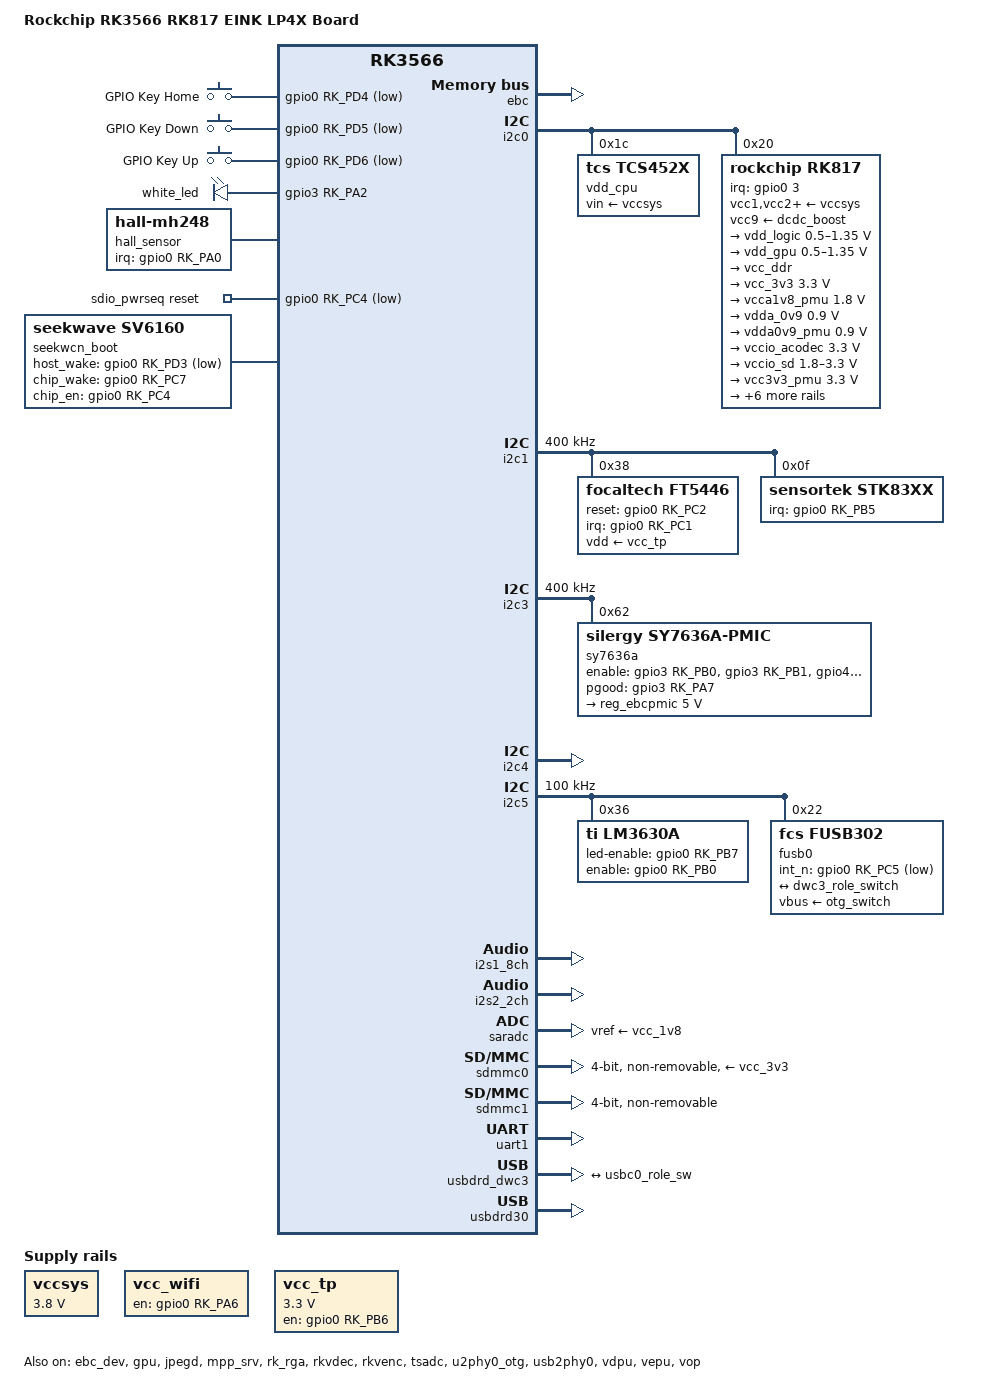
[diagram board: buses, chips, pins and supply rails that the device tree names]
// SPDX-License-Identifier: (GPL-2.0+ OR MIT)
/*
 * Copyright (c) 2020 Rockchip Electronics Co., Ltd.
 *
 * PocketBook 635 (RK3566), boots from SD.
 */

/dts-v1/;

#include <dt-bindings/gpio/gpio.h>
#include <dt-bindings/pinctrl/rockchip.h>
#include <dt-bindings/input/rk-input.h>
#include <dt-bindings/sensor-dev.h>
#include <dt-bindings/display/drm_mipi_dsi.h>
#include "rk3566.dtsi"
#include "rk3568-linux.dtsi"
#include "rk3566-eink.dtsi"

/ {
	model = "Rockchip RK3566 RK817 EINK LP4X Board";
	compatible = "rockchip,rk3566-rk817-eink", "rockchip,rk3566";

	aliases {
		mmc0 = &sdmmc0;
		mmc1 = &sdmmc1;
		mmc2 = &sdhci;
	};

	charge-animation {
		compatible = "rockchip,uboot-charge";
		rockchip,uboot-charge-on = <1>;
		rockchip,android-charge-on = <0>;
		rockchip,uboot-low-power-voltage = <3350>;
		rockchip,screen-on-voltage = <3400>;
		rockchip,auto-wakeup-interval = <60>;
		status = "okay";
	};

	// adc_keys: adc-keys {
	// 	status = "disabled";
	// 	compatible = "adc-keys";
	// 	io-channels = <&saradc 0>;
	// 	io-channel-names = "buttons";
	// 	keyup-threshold-microvolt = <1800000>;
	// 	poll-interval = <100>;

	// 	vol-up-key {
	// 		label = "volume up";
	// 		linux,code = <KEY_VOLUMEUP>;
	// 		press-threshold-microvolt = <9000>;
	// 	};

	// 	vol-down-key {
	// 		label = "volume down";
	// 		linux,code = <KEY_VOLUMEDOWN>;
	// 		press-threshold-microvolt = <235000>;
	// 	};
	// };

	// backlight: backlight {
	// 	status = "disabled";
	// 	compatible = "pwm-backlight";
	// 	pwms = <&pwm0 0 25000 0>;
	// 	brightness-levels = <
	// 		  0  20  20  21  21  22  22  23
	// 		 23  24  24  25  25  26  26  27
	// 		 27  28  28  29  29  30  30  31
	// 		 31  32  32  33  33  34  34  35
	// 		 35  36  36  37  37  38  38  39
	// 		 40  41  42  43  44  45  46  47
	// 		 48  49  50  51  52  53  54  55
	// 		 56  57  58  59  60  61  62  63
	// 		 64  65  66  67  68  69  70  71
	// 		 72  73  74  75  76  77  78  79
	// 		 80  81  82  83  84  85  86  87
	// 		 88  89  90  91  92  93  94  95
	// 		 96  97  98  99 100 101 102 103
	// 		104 105 106 107 108 109 110 111
	// 		112 113 114 115 116 117 118 119
	// 		120 121 122 123 124 125 126 127
	// 		128 129 130 131 132 133 134 135
	// 		136 137 138 139 140 141 142 143
	// 		144 145 146 147 148 149 150 151
	// 		152 153 154 155 156 157 158 159
	// 		160 161 162 163 164 165 166 167
	// 		168 169 170 171 172 173 174 175
	// 		176 177 178 179 180 181 182 183
	// 		184 185 186 187 188 189 190 191
	// 		192 193 194 195 196 197 198 199
	// 		200 201 202 203 204 205 206 207
	// 		208 209 210 211 212 213 214 215
	// 		216 217 218 219 220 221 222 223
	// 		224 225 226 227 228 229 230 231
	// 		232 233 234 235 236 237 238 239
	// 		240 241 242 243 244 245 246 247
	// 		248 249 250 251 252 253 254 255
	// 	>;
	// 	default-brightness-level = <200>;
	// };


    // backlight_warm: backlight-warm {
    //     status = "disabled";
    //     compatible = "pwm-backlight";
    //     pwms = <&pwm0 0 25000 0>;
    //     brightness-levels = <
    //     /*0  */  0     200  400  600  800
    //     /*5  */  1000 1200 1400 1600 1800
    //     /*10 */  2000 2200 2400 2600 2800
    //     /*15 */  3000 3200 3400 3600 3800
    //     /*20 */  4000 4200 4400 4600 4800
    //     /*25 */  5000 5200 5400 5600 5800
    //     /*30 */  6000 6200 6400 6600 6800 6900
    //     /*36 */  7000 7200 7400 7700
    //     /*40 */  8000 8200 8400 8600 8800
    //     /*45 */  9000 9200 9400 9600 9800
    //     /*50 */  10000 10200 10400 10600 10800
    //     /*55 */  11000 11200 11400 11600 11800
    //     /*60 */  12000 12200 12400 12600 12800
    //     /*65 */  13000 13200 13400 13500 13600 13700 13800
    //     /*72 */  14000 14100 14200 14300 14400 14500 14600 14700 14800 14900
    //     /*82 */  15000 15100 15200 15300 15400 15500 15600 15650 15700 15750 15800 15900 15950
    //     /*95 */  16000 16100 16200 16300 16400 16500 16600 16650 16700 16750 16800 16900 16950
    //     /*108*/  17000 17100 17150 17200 17250 17300 17350 17400 17450 17500 17550 17600 17650 17750 17800 17850 17900 17950
    //     /*126*/  18000 18100 18150 18200 18250 18300 18350 18400 18450 18500 18550 18600 18650 18750 18800 18850 18900 18950
    //     /*144*/  19000 19100 19150 19200 19250 19300 19350 19400 19450 19500 19550 19600 19650 19750 19800 19850 19900 19950
    //     /*162*/  20000 20100 20150 20200 20250 20300 20350 20400 20450 20500 20550 20600 20650 20750 20800 20850 20900 20950
    //     /*180*/  21000 21100 21150 21200 21250 21300 21350 21400 21450 21500 21550 21600 21650 21750 21800 21850 21900 21950
    //     /*198*/  22000 22100 22150 22200 22250 22300 22350 22400 22450 22500 22550 22600 22650 22750 22800 22850 22900 22950
    //     /*216*/  23000 23100 23150 23230 23250 23300 23350 23400 23450 23500 23550 23600 23650 23750 23800 23850 23900 23950
    //              24000 24100 24150 24200 24250 24300 24350 24400 24450 24500 24550 24600 24650 24750 24800 24850 24900 24950 24950 24950 24950
    //     /*255*/  25000>;
    //     default-brightness-level = <0>;
    // };

    // backlight_cold: backlight-cold {
    //     status = "disabled";
    //     compatible = "pwm-backlight";
    //     pwms = <&pwm12 0 25000 0>;
    //     brightness-levels = <
    //     /*0  */  0     200  400  600  800
    //     /*5  */  1000 1200 1400 1600 1800
    //     /*10 */  2000 2200 2400 2600 2800
    //     /*15 */  3000 3200 3400 3600 3800
    //     /*20 */  4000 4200 4400 4600 4800
    //     /*25 */  5000 5200 5400 5600 5800
    //     /*30 */  6000 6200 6400 6600 6800 6900
    //     /*36 */  7000 7200 7400 7700
    //     /*40 */  8000 8200 8400 8600 8800
    //     /*45 */  9000 9200 9400 9600 9800
    //     /*50 */  10000 10200 10400 10600 10800
    //     /*55 */  11000 11200 11400 11600 11800
    //     /*60 */  12000 12200 12400 12600 12800
    //     /*65 */  13000 13200 13400 13500 13600 13700 13800
    //     /*72 */  14000 14100 14200 14300 14400 14500 14600 14700 14800 14900
    //     /*82 */  15000 15100 15200 15300 15400 15500 15600 15650 15700 15750 15800 15900 15950
    //     /*95 */  16000 16100 16200 16300 16400 16500 16600 16650 16700 16750 16800 16900 16950
    //     /*108*/  17000 17100 17150 17200 17250 17300 17350 17400 17450 17500 17550 17600 17650 17750 17800 17850 17900 17950
    //     /*126*/  18000 18100 18150 18200 18250 18300 18350 18400 18450 18500 18550 18600 18650 18750 18800 18850 18900 18950
    //     /*144*/  19000 19100 19150 19200 19250 19300 19350 19400 19450 19500 19550 19600 19650 19750 19800 19850 19900 19950
    //     /*162*/  20000 20100 20150 20200 20250 20300 20350 20400 20450 20500 20550 20600 20650 20750 20800 20850 20900 20950
    //     /*180*/  21000 21100 21150 21200 21250 21300 21350 21400 21450 21500 21550 21600 21650 21750 21800 21850 21900 21950
    //     /*198*/  22000 22100 22150 22200 22250 22300 22350 22400 22450 22500 22550 22600 22650 22750 22800 22850 22900 22950
    //     /*216*/  23000 23100 23150 23230 23250 23300 23350 23400 23450 23500 23550 23600 23650 23750 23800 23850 23900 23950
    //              24000 24100 24150 24200 24250 24300 24350 24400 24450 24500 24550 24600 24650 24750 24800 24850 24900 24950 24950 24950 24950
    //     /*255*/  25000>;
    //     default-brightness-level = <0>;
    // };

	gpio_keys: gpio-keys {
		status = "okay";
		compatible = "gpio-keys";
		pinctrl-names = "default";
		pinctrl-0 = <&gpio_keys_gpio>;
		//autorepeat;

		HOME {
			label = "GPIO Key Home";
			debounce-interval = <10>;
			interrupt-parent = <&gpio0>;
			interrupts = <RK_PD4 IRQ_TYPE_LEVEL_LOW>;
			linux,input-type = <EV_KEY>;
			linux,code = <KEY_HOME>;
			gpios=<&gpio0 RK_PD4 GPIO_ACTIVE_LOW>;
			wakeup-source;
		};

		DOWN {
			label = "GPIO Key Down";
			debounce-interval = <10>;
			interrupt-parent = <&gpio0>;
			interrupts = <RK_PD5 IRQ_TYPE_LEVEL_LOW>;
			linux,input-type = <EV_KEY>;
			linux,code = <KEY_DOWN>;
			gpios=<&gpio0 RK_PD5 GPIO_ACTIVE_LOW>;
			wakeup-source;
		};

		UP {
			label = "GPIO Key Up";
			debounce-interval = <10>;
			interrupt-parent = <&gpio0>;
			interrupts = <RK_PD6 IRQ_TYPE_LEVEL_LOW>;
			linux,input-type = <EV_KEY>;
			linux,code = <KEY_UP>;
			gpios=<&gpio0 RK_PD6 GPIO_ACTIVE_LOW>;
			wakeup-source;
		};

	};

	hdmi_sound: hdmi-sound {
		compatible = "simple-audio-card";
		simple-audio-card,format = "i2s";
		simple-audio-card,mclk-fs = <128>;
		simple-audio-card,name = "rockchip,hdmi";
		status = "disabled";

		simple-audio-card,cpu {
				sound-dai = <&i2s0_8ch>;
		};
		simple-audio-card,codec {
				sound-dai = <&hdmi>;
		};
	};

	leds: gpio-leds {
		status = "okay";
		compatible = "gpio-leds";
		pinctrl-names = "default";
		pinctrl-0 =<&leds_gpio>;

		led@1 {
			gpios = <&gpio3 RK_PA2 GPIO_ACTIVE_HIGH>;
			label = "white_led";
			default-state = "on";
			retain-state-suspended;
		};
	};

	hall_sensor: hall-mh248 {
		compatible = "hall-mh248";
		pinctrl-names = "default";
		pinctrl-0 = <&mh248_irq_gpio>;
		irq-gpio = <&gpio0 RK_PA0 IRQ_TYPE_EDGE_BOTH>;
		hall-active = <1>;
		status = "okay";
	};


	vccsys: vccsys {
		compatible = "regulator-fixed";
		regulator-name = "vcc3v8_sys";
		regulator-always-on;
		regulator-boot-on;
		regulator-min-microvolt = <3800000>;
		regulator-max-microvolt = <3800000>;
	};

	vcc_wifi: vcc-wifi {
	status = "okay";
        compatible = "regulator-fixed";
        enable-active-high;
        gpio = <&gpio0 RK_PA6 GPIO_ACTIVE_HIGH>;
        pinctrl-names = "default";
        pinctrl-0 = <&wifi_poweren_gpio>;
        regulator-name = "vcc_wifi";
        regulator-boot-on;
        regulator-always-on;
    };
	
	vcc_tp: vcc-tp-regulator {
		status = "okay";
		compatible = "regulator-fixed";
		enable-active-high;
		gpio = <&gpio0 RK_PB6 GPIO_ACTIVE_HIGH>;
		pinctrl-names = "default";
		pinctrl-0 = <&vcc_tp_en>;
		regulator-name = "vcc_tp";
		regulator-boot-on;
		// startup-delay-us = <10000>;
		regulator-min-microvolt = <3300000>;
		regulator-max-microvolt = <3300000>;
	};

	rk817-sound {
		compatible = "simple-audio-card";
		simple-audio-card,format = "i2s";
		simple-audio-card,name = "rockchip,rk817-codec";
		simple-audio-card,mclk-fs = <256>;

		simple-audio-card,cpu {
			sound-dai = <&i2s1_8ch>;
		};
		simple-audio-card,codec {
			sound-dai = <&rk817_codec>;
		};
	};

	dummy_codec: dummy-codec { 
		status = "okay";
		compatible = "rockchip,dummy-codec";
		#sound-dai-cells = <0>;
	};

	bt-sound {
		status = "okay";
		compatible = "simple-audio-card";
		simple-audio-card,format = "dsp_b";
		simple-audio-card,bitclock-inversion = <1>;
		simple-audio-card,mclk-fs = <256>;
		simple-audio-card,name = "rockchip,bt";
		simple-audio-card,cpu {
				sound-dai = <&i2s2_2ch>;
		};
		simple-audio-card,codec {
				sound-dai = <&bt_sco>;
		};
	};

	bt_sco: bt-sco {
		compatible = "delta,dfbmcs320";
		#sound-dai-cells = <0>;
		status = "okay";
	};

	sdio_pwrseq: sdio-pwrseq {
		status = "okay";
		compatible = "mmc-pwrseq-simple";
		clocks = <&rk817 1>;
		clock-names = "ext_clock";
		pinctrl-names = "default";
		pinctrl-0 = <&wifi_enable_h>;

		/*
		 * On the module itself this is one of these (depending
		 * on the actual card populated):
		 * - SDIO_RESET_L_WL_REG_ON
		 * - PDN (power down when low)
		 */
		post-power-on-delay-ms = <10>;
		// seekw6621-host-wake-gpios = <&gpio0 RK_PB0 GPIO_ACTIVE_LOW>;
		reset-gpios = <&gpio0 RK_PC4 GPIO_ACTIVE_LOW>;
	};
    seekwcn_boot: wireless-bluetooth {
        status = "okay";
        //compatible = "seekwave,sv6160lite";
	compatible = "seekwave,sv6160";
        pinctrl-names = "default";
        pinctrl-0 = <&wifi_bt_gpio>;
        dma_type = <1>;/*1:ADMA,2:SDMA*/
	seekwave_nv_name="sv6160.nvbin";

        gpio_host_wake = <&gpio0 RK_PD3 GPIO_ACTIVE_LOW>; /* CP2AP */
        gpio_chip_wake = <&gpio0 RK_PC7 GPIO_ACTIVE_HIGH>; /* AP2CP */
        gpio_chip_en = <&gpio0 RK_PC4 GPIO_ACTIVE_HIGH>; /* CHIP EN */
    };
};

/* U-Boot merges bootargs_ext into /chosen/bootargs. Pin USB audio to card 2 so
 * a device attached at boot cannot take the loopback's slot. */
&chosen {
	bootargs_ext = "snd_usb_audio.index=2";
};

&reserved_memory {
	logo_reserved: logo@10000000 {
		reg = <0x0 0x12900000 0x0 0x400000>;
	};

	linux,cma {
		compatible = "shared-dma-pool";
		inactive;
		reusable;
		reg = <0x0 0x20000000 0x0 0x08000000>;
		linux,cma-default;
	};
};

&ebc {
	/* clock rate 1000M/n, (n=1~32) */
	assigned-clocks = <&cru CPLL_333M>, <&cru DCLK_EBC>;
	assigned-clock-rates = <40000000>, <40000000>;
	status = "okay";
};

&ebc_dev {
	compatible = "rockchip,ebc-linux";
	logo-region = <&logo_reserved>;
	pmic = <&sy7636a>;
	// pmic = <&tps65185>;
	status = "okay";

	/* ED060KC6C1, 6" 1448x1072 (300 dpi) */
	panel,width = <1448>;
	panel,height = <1072>;
	/* vir_width must be 16-aligned (16 pixels per 32-bit waveform word), so
	 * the stride is padded to 1456; visible width and ldl stay at 1448. */
	panel,vir_width = <1456>;
	panel,vir_height = <1072>;
	panel,sdck = <40000000>;
	panel,lsl = <18>;
	panel,lbl = <12>;
	panel,ldl = <362>;
	panel,lel = <40>;
	panel,gdck-sta = <84>;
	panel,lgonl = <288>;
	panel,fsl = <1>;
	panel,fbl = <4>;
	panel,fdl = <1072>;
	panel,fel = <12>;
	panel,mirror = <0>;
	panel,panel_16bit = <0>;
	panel,panel_color = <0>;
	panel,width-mm = <123>;
	panel,height-mm = <91>;
	panel,soc_start_y = <0>;
	panel,soc_icon_w = <0>;
	panel,soc_icon_h = <0>;
	panel,tcor_start = <24>;
	panel,tcor_percent = <100>;
};

&cpu0 {
	cpu-supply = <&vdd_cpu>;
};

&csi2_dphy_hw {
	status = "disabled";
};

&csi2_dphy0 {
	status = "disabled";

	ports {
		#address-cells = <1>;
		#size-cells = <0>;
		port@0 {
			reg = <0>;
			#address-cells = <1>;
			#size-cells = <0>;

			mipi_in_ucam0: endpoint@0 {
				reg = <0>;
				/*remote-endpoint = <&ov5648_out>;*/
				data-lanes = <1 2>;
			};
		};
		port@1 {
			reg = <1>;
			#address-cells = <1>;
			#size-cells = <0>;

			csidphy0_out: endpoint@0 {
				reg = <0>;
				remote-endpoint = <&isp0_in>;
			};
		};
	};
};

&gpu {
	mali-supply = <&vdd_gpu>;
	status = "okay";
};

&hdmi {
	status = "disabled";
};

&hdmi_in_vp0 {
	status = "disabled";
};

&hdmi_in_vp1 {
	status = "disabled";
};

&hdmi_sound {
	status = "disabled";
};

&thermal_zones {
    ebcpmic_thermal: ebcpmic-thermal { 
        polling-delay = <0>;
        polling-delay-passive = <0>;
        thermal-sensors = <&sy7636a>;

        trips {
            sy7636a_dummy_trip: sy7636a-dummy-trip {
                temperature = <100000>;
                hysteresis = <0>;
                type = "hot";
            };
        };
    };
};

&i2c0 {
	status = "okay";

	vdd_cpu: tcs4525@1c {
		status = "okay";
		compatible = "tcs,tcs452x";
		reg = <0x1c>;
		vin-supply = <&vccsys>;
		regulator-compatible = "fan53555-reg";
		regulator-name = "vdd_cpu";
		regulator-min-microvolt = <712500>;
		regulator-max-microvolt = <1390000>;
		regulator-init-microvolt = <900000>;
		regulator-ramp-delay = <2300>;
		fcs,suspend-voltage-selector = <0>;
		regulator-initial-mode = <0x2>;
		regulator-boot-on;
		regulator-always-on;
		regulator-state-mem {
			regulator-on-in-suspend;
			regulator-suspend-microvolt = <1100000>;
			regulator-changeable-in-suspend;
		};
	};

	rk817: pmic@20 {
		compatible = "rockchip,rk817";
		reg = <0x20>;
		interrupt-parent = <&gpio0>;
		interrupts = <3 IRQ_TYPE_LEVEL_LOW>;

		pinctrl-names = "default";
//		pinctrl-names = "default", "pmic-sleep",
//				"pmic-power-off", "pmic-reset";
		pinctrl-0 = <&pmic_int>;
//		pinctrl-1 = <&soc_slppin_slp>, <&rk817_slppin_slp>;
//		pinctrl-2 = <&soc_slppin_gpio>, <&rk817_slppin_pwrdn>;
//		pinctrl-3 = <&soc_slppin_gpio>, <&rk817_slppin_rst>;
		rockchip,system-power-controller;
		wakeup-source;
		#clock-cells = <1>;
		clock-output-names = "rk808-clkout1", "rk808-clkout2";
		//fb-inner-reg-idxs = <2>;
		/* 1: rst regs (default in codes), 0: rst the pmic */
		pmic-reset-func = <0>;
		/* not save the PMIC_POWER_EN register in uboot */
		not-save-power-en = <1>;
		long-press-off-time-sec = <10>;
		long-press-restart = <0>;
		vcc1-supply = <&vccsys>;
		vcc2-supply = <&vccsys>;
		vcc3-supply = <&vccsys>;
		vcc4-supply = <&vccsys>;
		vcc5-supply = <&vccsys>;
		vcc6-supply = <&vccsys>;
		vcc7-supply = <&vccsys>;
		vcc8-supply = <&vccsys>;
		vcc9-supply = <&dcdc_boost>;

		pwrkey {
			status = "okay";
		};

		pinctrl_rk8xx: pinctrl_rk8xx {
			gpio-controller;
			#gpio-cells = <2>;

			rk817_slppin_null: rk817_slppin_null {
				pins = "gpio_slp";
				function = "pin_fun0";
			};

			rk817_slppin_slp: rk817_slppin_slp {
				pins = "gpio_slp";
				function = "pin_fun1";
			};

			rk817_slppin_pwrdn: rk817_slppin_pwrdn {
				pins = "gpio_slp";
				function = "pin_fun2";
			};

			rk817_slppin_rst: rk817_slppin_rst {
				pins = "gpio_slp";
				function = "pin_fun3";
			};
		};

		regulators {
			vdd_logic: DCDC_REG1 {
				regulator-always-on;
				regulator-boot-on;
				regulator-min-microvolt = <500000>;
				regulator-max-microvolt = <1350000>;
				regulator-init-microvolt = <900000>;
				regulator-ramp-delay = <6001>;
				regulator-initial-mode = <0x2>;
				regulator-name = "vdd_logic";
				regulator-state-mem {
					regulator-off-in-suspend;
					regulator-suspend-microvolt = <900000>;
					regulator-changeable-in-suspend;
				};
			};

			vdd_gpu: DCDC_REG2 {
				regulator-always-on;
				regulator-boot-on;
				regulator-min-microvolt = <500000>;
				regulator-max-microvolt = <1350000>;
				regulator-init-microvolt = <900000>;
				regulator-ramp-delay = <6001>;
				regulator-initial-mode = <0x2>;
				regulator-name = "vdd_gpu";
					regulator-state-mem {
					regulator-off-in-suspend;
					regulator-changeable-in-suspend;
				};
			};

			vcc_ddr: DCDC_REG3 {
				regulator-always-on;
				regulator-boot-on;
				regulator-initial-mode = <0x2>;
				regulator-name = "vcc_ddr";
				regulator-state-mem {
					regulator-on-in-suspend;
				};
			};

			vcc_3v3: DCDC_REG4 {
				regulator-always-on;
				regulator-boot-on;
				regulator-min-microvolt = <3300000>;
				regulator-max-microvolt = <3300000>;
				regulator-initial-mode = <0x2>;
				regulator-name = "vcc_3v3";
				regulator-state-mem {
					regulator-off-in-suspend;
					regulator-changeable-in-suspend;
				};
			};

			vcca1v8_pmu: LDO_REG1 {
				regulator-always-on;
				regulator-boot-on;
				regulator-min-microvolt = <1800000>;
				regulator-max-microvolt = <1800000>;
				regulator-name = "vcca1v8_pmu";
				regulator-state-mem {
					regulator-on-in-suspend;
					regulator-suspend-microvolt = <1800000>;
					regulator-changeable-in-suspend;
				};
			};

			vdda_0v9: LDO_REG2 {
				// regulator-always-on;
				// regulator-boot-on;
				regulator-min-microvolt = <900000>;
				regulator-max-microvolt = <900000>;
				regulator-name = "vdda_0v9";
				regulator-state-mem {
					regulator-off-in-suspend;
					regulator-changeable-in-suspend;
				};
			};

			vdda0v9_pmu: LDO_REG3 {
				regulator-always-on;
				regulator-boot-on;
				regulator-min-microvolt = <900000>;
				regulator-max-microvolt = <900000>;
				regulator-name = "vdda0v9_pmu";
				regulator-state-mem {
					regulator-on-in-suspend;
					regulator-suspend-microvolt = <900000>;
					regulator-changeable-in-suspend;
				};
			};

			vccio_acodec: LDO_REG4 {
				regulator-always-on;
				regulator-boot-on;
				regulator-min-microvolt = <3300000>;
				regulator-max-microvolt = <3300000>;
				regulator-name = "vccio_acodec";
				regulator-state-mem {
					regulator-off-in-suspend;
					regulator-changeable-in-suspend;
				};
			};

			vccio_sd: LDO_REG5 {
				regulator-always-on;
				regulator-boot-on;
				regulator-min-microvolt = <1800000>;
				regulator-max-microvolt = <3300000>;
				regulator-name = "vccio_sd";
				regulator-state-mem {
					regulator-off-in-suspend;
					regulator-changeable-in-suspend;
				};
			};

			vcc3v3_pmu: LDO_REG6 {
				regulator-always-on;
				regulator-boot-on;
				regulator-min-microvolt = <3300000>;
				regulator-max-microvolt = <3300000>;
				regulator-name = "vcc3v3_pmu";
				regulator-state-mem {
					regulator-on-in-suspend;
					regulator-suspend-microvolt = <3000000>;
					regulator-changeable-in-suspend;
				};
			};

			vcc_1v8: LDO_REG7 {
				regulator-always-on;
				regulator-boot-on;
				regulator-min-microvolt = <1800000>;
				regulator-max-microvolt = <1800000>;
				regulator-name = "vcc_1v8";
				regulator-state-mem {
					regulator-off-in-suspend;
					regulator-changeable-in-suspend;
				};
			};

			//no use in 1030
			vcc_1v8_dvp: LDO_REG8 {
                // regulator-always-on;
                // regulator-boot-on;
                regulator-min-microvolt = <1800000>;
                regulator-max-microvolt = <1800000>;
                regulator-name = "vcc_1v8_dvp";
                regulator-state-mem {
                    // regulator-on-in-suspend;
					regulator-off-in-suspend;
                    regulator-changeable-in-suspend;
                    regulator-suspend-microvolt = <1800000>;
                };
            };
			// vcc1v8_dvp: LDO_REG8 {
			// 	regulator-min-microvolt = <3300000>;
			// 	regulator-max-microvolt = <3300000>;
			// 	regulator-name = "vcc1v8_dvp";
			// 	regulator-state-mem {
			// 		regulator-off-in-suspend;
			// 		regulator-changeable-in-suspend;
			// 	};
			// };

			sleep_sta_ctl: LDO_REG9 {
				regulator-name = "sleep_sta_ctl";
				regulator-state-mem {
					regulator-on-in-suspend;
					regulator-suspend-microvolt = <3300000>;
					regulator-changeable-in-suspend;
				};
			};

			dcdc_boost: BOOST {
				regulator-always-on;
				regulator-boot-on;
				regulator-min-microvolt = <4700000>;
				regulator-max-microvolt = <5400000>;
				regulator-name = "boost";
				regulator-state-mem {
					regulator-off-in-suspend;
					regulator-changeable-in-suspend;
				};
			};

			otg_switch: OTG_SWITCH {
				regulator-name = "otg_switch";
				regulator-state-mem {
					regulator-off-in-suspend;
					regulator-changeable-in-suspend;
				};
			};
		};

		vbus_typec: vbus-typec-regulator {
			compatible = "regulator-fixed";
			regulator-name = "vbus_typec";
			vin-supply = <&otg_switch>;
		};
		
		/* JL 199073PL, 1500 mAh LiCoO2, 4.35 V. */
		battery {
			status = "okay";
			compatible = "rk817,battery";
			ocv_table = <3500 3668 3691 3718 3743 3760 3773
				     	3783 3796 3813 3836 3867 3916 3957
				     	3989 4052 4097 4149 4203 4261 4333>;
			design_capacity = <1529>;
			design_qmax = <1682>;
			bat_res = <86>;
			// ocv_table = <3400 3513 3578 3687 3734 3752 3763
			// 	     3766 3771 3784 3804 3836 3885 3925
			// 	     3962 4005 4063 4114 4169 4227 4303>;
			// design_capacity = <4150>;
			// design_qmax = <4565>;
			// bat_res = <100>;
			sleep_enter_current = <150>;
			sleep_exit_current = <180>;
			sleep_filter_current = <100>;
			power_off_thresd = <3450>;
			zero_algorithm_vol = <4000>;
			max_soc_offset = <60>;
			monitor_sec = <5>;
			sample_res = <10>;
			virtual_power = <0>;
			low_power_sleep = <1>;

			/*Utility  battery ntc -30 ~ 99 */
			ntc_degree_from = <1 11>;
			ntc_degree_protect_low = <0 0>;
			ntc_degree_protect_high = <45>;
			ntc_table = <44506 42506 40600 38791 37073 35442
						33892 32420 31020 29689 28423 27219
						26076 24988 23951 22963 22021 21123
						20267 19450 18670 17926 17214 16534
						15886 15266 14674 14108 13566 13049
						12554 12081 11628 11195 10780 10382
						10000 9634  9284  8947  8624  8315
						8018  7734  7461  7199  6948  6707
						6475  6253  6039  5834  5636  5445
						5262  5086  4917  4754  4597  4446
						4301  4161  4026  3896  3771  3651
						3535  3423  3315  3211  3111  3014
						2922  2834  2748  2666  2586  2509>;
				
		};

		charger {
			compatible = "rk817,charger";
			min_input_voltage = <4500>;
			max_input_current = <2000>;
			max_chrg_current = <1500>;
			max_chrg_voltage = <4350>;
			chrg_term_mode = <0>;
			chrg_finish_cur = <100>;
			fb_temperature = <95>;
			virtual_power = <0>;
			dc_det_adc = <0>;
			extcon = <&usb2phy0>;
			// extcon = <&fusb0>;
			gate_function_disable = <1>;

		};

		rk817_codec: codec {
			#sound-dai-cells = <0>;
			compatible = "rockchip,rk817-codec";
			clocks = <&cru I2S1_MCLKOUT>;
			clock-names = "mclk";
			assigned-clocks = <&cru I2S1_MCLKOUT>, <&cru I2S1_MCLK_TX_IOE>;
			assigned-clock-rates = <12288000>;
			assigned-clock-parents = <&cru I2S1_MCLKOUT_TX>, <&cru I2S1_MCLKOUT_TX>;
			pinctrl-names = "default";
			pinctrl-0 = <&i2s1m0_mclk>, <&hp_gpio>;
			hp-volume = <46>;
			spk-volume = <46>;
			spk-mute-delay-ms = <500>;
			out-l2spk-r2hp;
			hp-ctl-gpios = <&gpio3 RK_PC3 GPIO_ACTIVE_HIGH>;
			status = "okay";
		};
	};

	// cw2015: cw2015@62 {
	// 	status = "disabled";
	// 	compatible = "cw201x";
	// 	reg = <0x62>;
	// 	bat_config_info = <
	// 			0x18 0x0A 0x78 0x6A 0x6C 0x6A 0x68 0x66
	// 			0x63 0x5F 0x5B 0x5A 0x59 0x57 0x49 0x3F
	// 			0x37 0x2F 0x28 0x23 0x25 0x30 0x41 0x4D
	// 			0x34 0x2F 0x0C 0x29 0x1C 0x38 0x63 0x81
	// 			0x87 0x86 0x87 0x88 0x3D 0x19 0x6B 0x42
	// 			0x06 0x22 0x2B 0x60 0x8A 0x91 0x91 0x22
	// 			0x4A 0x77 0x98 0xB1 0x80 0x8C 0x95 0xCB
	// 			0x2F 0x00 0x64 0xA5 0xB5 0x05 0x18 0x89
	// 			>;
	// 	design_capacity = <3200>;
	// 	monitor_sec = <5>;
	// 	virtual_power = <0>;
	// };
};

&i2c1 {
	status = "okay";
    clock-frequency = <400000>;

	ft5446: focaltech@38 {
		status = "okay";
		compatible = "focaltech,ft5446";
		reg = <0x38>;
		pinctrl-names = "default";
		pinctrl-0 = <&tp_gpio>;
		vdd-supply = <&vcc_tp>;
		focaltech,reset-gpio = <&gpio0 RK_PC2 GPIO_ACTIVE_HIGH>;
		focaltech,irq-gpio = <&gpio0 RK_PC1 IRQ_TYPE_EDGE_FALLING>;
		focaltech,max-touch-number = <5>;
		focaltech,display-coords =  <0 0 1072 1448>;
		focaltech,have-key = <0>;
		focaltech,key-number = <1>;
		focaltech,key-x-coords = <300>;
		focaltech,key-y-coords = <1300>;
		revert_x = <1>;
		revert_y = <0>;
		xy_exchange = <1>;
		wakeup-source;
	};

	stk83xx: gsensor@f {
		status = "okay";
		compatible = "sensortek,stk83xx";
		reg = <0xf>;
		pinctrl-names = "default";
		pinctrl-0 = <&gsensor_irq_gpio>;
		stk83xx,irq-gpio = <&gpio0 RK_PB5 IRQ_TYPE_LEVEL_LOW>;
		irq_enable = <0>;
		//wakeup-source;
		poll_delay_ms = <30>;
		type = <SENSOR_TYPE_ACCEL>;
		power-off-in-suspend = <0>;
		layout = <5>;
		//1~255
		default_slope_threshold = <2>;
     	};
};

&i2c2 {
	status = "disabled";
	pinctrl-names = "default";
	// pinctrl-0 = <&i2c2m0_xfer>;

    flashlight: aw36518@63 {
        status = "okay";
        compatible = "awinic,aw36518";
        label = "aw36518-flash";
        reg = <0x63>;
        led-max-microamp = <299200>;//torch模式最大电流
        flash-max-microamp = <1122000>;//flash模式最大电流
        flash-max-timeout-us = <1600000>;//falsh最大时间
        rockchip,camera-module-index = <0>;
        rockchip,camera-module-facing = "back";
    };
};

&i2c3 {
	status = "okay";
    clock-frequency = <400000>;
    pinctrl-names = "default";
    pinctrl-0 = <&i2c3m1_xfer>;

	sy7636a: sy7636a@62 {
 	        compatible = "silergy,sy7636a-pmic";
 	        reg = <0x62>;
 	        status = "okay";
			pinctrl-names = "default";
 	        pinctrl-0 = <&einkpmic_gpio>;
			/* chipen, pvddctrl, vcomctl, and EINK_VCC_EN_H (gpio0 PC0): factory models
			 * the last as a separate always-on regulator, which can never drop it in suspend. */
			enable-gpios = <&gpio3 RK_PB0 GPIO_ACTIVE_HIGH>, <&gpio3 RK_PB1 GPIO_ACTIVE_HIGH>, <&gpio4 RK_PB2 GPIO_ACTIVE_HIGH>, <&gpio0 RK_PC0 GPIO_ACTIVE_HIGH>;
			pgood-gpios = <&gpio3 RK_PA7 GPIO_ACTIVE_HIGH>;
			thermal-zone = "ebcpmic-thermal";
 	        #thermal-sensor-cells = <0>;
			regulators {
 	            compatible = "sy7636a-regulator";
 	            reg_ebcpmic: vcom {
 	                regulator-name = "vcom";
 	                regulator-min-microvolt = <0>;
 	                regulator-max-microvolt = <5000000>;
 	                regulator-boot-on;
 	                regulator-state-mem {
 	                    regulator-off-in-suspend;
 	                };
 	            };
 	        };                                                                                                                               
			sy7636a_thermal: sy7636a_thermal {
 	            compatible = "sy7636a-thermal";
 	        };
	};

};

&i2c4 {
	/* Nothing on it: muxing it (as factory does) keeps gpio2_B1's reset
	 * pull-down off the fitted 2.2K pull-up R1516. */
	status = "okay";
	pinctrl-names = "default";
	pinctrl-0 = <&i2c4m1_xfer>;
};

&i2c5 {
	status = "okay";
	pinctrl-names = "default";
	pinctrl-0 = <&i2c5m0_xfer>;
	clock-frequency = <100000>;

	lm3630a: lm3630a@36 {
		status = "okay";
		reg = <0x36>;
		compatible = "ti,lm3630a";
		pinctrl-names = "default";
		pinctrl-0 = <&lm3630a_gpio>;
		led-enable-gpio= <&gpio0 RK_PB7 GPIO_ACTIVE_HIGH>;
		enable-gpio = <&gpio0 RK_PB0 GPIO_ACTIVE_HIGH>;
		lm3630a-pwm = <&pwm15 0 25000 0>;
		/*	ch1 enable exp = 0x4, ch1 enable linear = 0x14, ch1+ch2 enable exp = 0x6, ch1+ch2 enable linear = 0x1e, ch1+ch2 controled by ch1 in exp mode = 0x5, ch1+ch2 controled by ch1 in linear mode = 0x15 */
		mode = <0x6>;
		/*	max current register setting. see lm3630a spec [ LED_I_OUT = 5 + 0.75 * max_i_chX (mA) ] (unsigned integer value) */
		max_i_ch1 = <1>;
		max_i_ch2 = <2>;
	};

	fusb0: fusb30x@22 {
		compatible = "fcs,fusb302";
		// compatible = "fairchild,fusb302";
		reg = <0x22>;
		pinctrl-names = "default";
		pinctrl-0 = <&fusb0_int>;
		fcs,int_n-gpios = <&gpio0 RK_PC5 GPIO_ACTIVE_LOW>;
		//fcs,int_n_v13-gpios = <&gpio0 RK_PC5 GPIO_ACTIVE_HIGH>;
		vbus-supply = <&otg_switch>;
		fusb302,role = "ROLE_MODE_DRP";
		fusb302,try_role = "ROLE_MODE_UFP";
		status = "okay";

		ports {
			#address-cells = <1>;
			#size-cells = <0>;

			port@0 {
				reg = <0>;
				usbc0_role_sw: endpoint@0 {
					remote-endpoint = <&dwc3_role_switch>;
				};
			};
		};

		// usb_con: connector {
		// 	compatible = "usb-c-connector";
		// 	label = "USB-C";
		// 	data-role = "dual";
		// 	power-role = "dual";
		// 	try-power-role = "sink";
		// 	op-sink-microwatt = <1000000>;
		// 	// sink-pdos =
		// 	// 	<PDO_FIXED(5000, 1000, PDO_FIXED_USB_COMM)>;
		// 	// source-pdos =
		// 	// 	<PDO_FIXED(5000, 3000, PDO_FIXED_USB_COMM)>;
		// };
	};

   	// usbc0: fusb302@22 {
	// 	compatible = "fcs,fusb302";
	// 	reg = <0x22>;
	// 	interrupt-parent = <&gpio3>;
	// 	interrupts = <RK_PB2 IRQ_TYPE_LEVEL_LOW>;
	// 	pinctrl-names = "default";
	// 	pinctrl-0 = <&fusb0_int>;
	// 	vbus-supply = <&otg_switch>;
	// 	status = "okay";

	// 	ports {
	// 		#address-cells = <1>;
	// 		#size-cells = <0>;

	// 		port@0 {
	// 			reg = <0>;
	// 			usbc0_role_sw: endpoint@0 {
	// 				remote-endpoint = <&dwc3_role_switch>;
	// 			};
	// 		};
	// 	};

	// 	usb_con: connector {
	// 		compatible = "usb-c-connector";
	// 		label = "USB-C";
	// 		data-role = "dual";
	// 		power-role = "dual";
	// 		try-power-role = "sink";
	// 		op-sink-microwatt = <1000000>;
	// 		sink-pdos =
	// 			<PDO_FIXED(5000, 1000, PDO_FIXED_USB_COMM)>;
	// 		source-pdos =
	// 			<PDO_FIXED(5000, 3000, PDO_FIXED_USB_COMM)>;
	// 	};
	// };

};

&spi1{
	status = "disabled";
	pinctrl-0 = <&spi1m1_cs0 &spi1m1_pins>;
	pinctrl-1 = <&spi1m1_cs0 &spi1m1_pins_hs>;
	finger_fp@0{
		compatible = "finger,fpsensor";
		reg = <0x00>;
		spi-max-frequency = <6000000>;
		pinctrl-names = "default";
		pinctrl-0 = <&finger_gpio>;
		irq-gpio = <&gpio0 RK_PB4 IRQ_TYPE_LEVEL_LOW>;
		reset-gpio = <&gpio3 RK_PC0 GPIO_ACTIVE_HIGH>;
		// status = "okay";
		status = "disabled";
	};
};

&i2s0_8ch {
	status = "disabled";
};

&i2s1_8ch {
	status = "okay";
	rockchip,clk-trcm = <1>;
	pinctrl-names = "default";
	pinctrl-0 = <&i2s1m0_sclktx
		     &i2s1m0_lrcktx
		     &i2s1m0_sdi0
		     &i2s1m0_sdo0>;
};

&i2s2_2ch {
	status = "okay";
};

&i2s3_2ch {
	status = "disabled";
	#sound-dai-cells = <0>;
	pinctrl-names = "default";
	pinctrl-0 = <&i2s3m1_sclk
		&i2s3m1_lrck
		&i2s3m1_sdi>;
};

&jpegd {
	status = "okay";
};

&jpegd_mmu {
	status = "okay";
};

&video_phy0 {
	status = "disabled";
};

&mpp_srv {
	status = "okay";
};

&nandc0 {
	status = "disabled";
};

&pinctrl {
	finger {
		finger_gpio: finger-gpio {
			rockchip,pins =
					<0 RK_PB4 RK_FUNC_GPIO &pcfg_pull_up>,
					<3 RK_PC0 RK_FUNC_GPIO &pcfg_pull_up>;
		};
	};

	// wacom {
	// 	wacom_gpio: wacom-gpio {
	// 		rockchip,pins =
	// 				<0 RK_PC0 RK_FUNC_GPIO &pcfg_pull_up>,
	// 				<0 RK_PC1 RK_FUNC_GPIO &pcfg_pull_up>,
	// 				<3 RK_PC5 RK_FUNC_GPIO &pcfg_pull_up>;
	// 	};
    //     emr_gpio: emr-gpio {
    //         rockchip,pins =
    //             <0 RK_PC2 RK_FUNC_GPIO &pcfg_pull_up>,// EMR_PEN_DETECT
    //             <0 RK_PC3 RK_FUNC_GPIO &pcfg_pull_up>,
    //             <0 RK_PB0 RK_FUNC_GPIO &pcfg_pull_up>;
    //     };
	// };

	touchscreen {
	        tp_gpio: tp-gpio {
	            rockchip,pins =
                <0 RK_PC2 RK_FUNC_GPIO &pcfg_pull_none>,
                <0 RK_PC1 RK_FUNC_GPIO &pcfg_pull_none>;
	        };
		vcc_tp_en: vcc-tp-en {
			 rockchip,pins = <0 RK_PB6 RK_FUNC_GPIO &pcfg_pull_none>;
		};
	};

	usbtypec {
		fusb0_int: fusb0-int {
			/* INT# is open-drain and the board pull-up R2602 is not fitted */
			rockchip,pins =
				<0 RK_PC5 RK_FUNC_GPIO &pcfg_pull_up>;
		};
	};

	speaker {
		hp_gpio: hp-gpio {
			rockchip,pins =
					<3 RK_PC3 RK_FUNC_GPIO &pcfg_pull_up>;
		};
	};

	pmic {
		pmic_int: pmic_int {
			rockchip,pins =
				<0 RK_PA3 RK_FUNC_GPIO &pcfg_pull_up>;
		};

		soc_slppin_gpio: soc_slppin_gpio {
			rockchip,pins =
				<0 RK_PA2 RK_FUNC_GPIO &pcfg_output_low_pull_down>;
		};

		soc_slppin_slp: soc_slppin_slp {
			rockchip,pins =
				<0 RK_PA2 1 &pcfg_pull_up>;
		};

		soc_slppin_rst: soc_slppin_rst {
			rockchip,pins =
				<0 RK_PA2 2 &pcfg_pull_none>;
		};
	};

	sdio-pwrseq {
		wifi_enable_h: wifi-enable-h {
			rockchip,pins = <0 RK_PC4 RK_FUNC_GPIO &pcfg_pull_none>;
		};
	};

	seekwcn_boot {
		//<0 RK_PC4 RK_FUNC_GPIO &pcfg_pull_up>,
		wifi_bt_gpio: wifi-bt-gpio {
			rockchip,pins = 
			<0 RK_PC7 RK_FUNC_GPIO &pcfg_pull_none>,
			<0 RK_PC6 RK_FUNC_GPIO &pcfg_pull_none>,
			<0 RK_PD3 RK_FUNC_GPIO &pcfg_pull_none>;
		};
		wifi_poweren_gpio:wifi-poweren-gpio {
			rockchip,pins = 
			<0 RK_PA6 RK_FUNC_GPIO &pcfg_pull_none>,
			/* BT_WAKE_HOST_H idles high behind Q6101; a pull-down leaks through its
			 * body diode. Here, not in wifi-bt-gpio, so it applies from boot. */
			<0 RK_PC3 RK_FUNC_GPIO &pcfg_pull_up>;
		};
	};
	
	leds {
		leds_gpio: leds-gpio {
			rockchip,pins =
				<3 RK_PA2 RK_FUNC_GPIO &pcfg_pull_none>;
		};
		lm3630a_gpio:lm3630a-gpio {
			rockchip,pins =
				<0 RK_PB7 RK_FUNC_GPIO &pcfg_pull_none>,
				<0 RK_PB0 RK_FUNC_GPIO &pcfg_pull_none>;
		};
	};

	keys {
		gpio_keys_gpio: gpio-keys-gpio{
			rockchip,pins =
					<0 RK_PD4 RK_FUNC_GPIO &pcfg_pull_up>,
					<0 RK_PD5 RK_FUNC_GPIO &pcfg_pull_up>,
					<0 RK_PD6 RK_FUNC_GPIO &pcfg_pull_up>;
	 	};
	};
    sensors {
        mh248_irq_gpio: mh248-irq-gpio {
			rockchip,pins = <0 RK_PA0 RK_FUNC_GPIO &pcfg_pull_up>;
		};

        gsensor_irq_gpio: gsensor-irq-gpio {
            rockchip,pins = <0 RK_PB5 RK_FUNC_GPIO &pcfg_pull_up>;
        };
    };

	eink_pmic {
        einkpmic_gpio: einkpmic-gpio {
            rockchip,pins =
                <3 RK_PB0 RK_FUNC_GPIO &pcfg_pull_none>,   /* chipen */
                <3 RK_PB1 RK_FUNC_GPIO &pcfg_pull_none>,   /* pvddctrl */
                <4 RK_PB2 RK_FUNC_GPIO &pcfg_pull_none>,   /* vcomctl */
                <3 RK_PA7 RK_FUNC_GPIO &pcfg_pull_none>,   /* pwrgood */
                <3 RK_PA6 RK_FUNC_GPIO &pcfg_pull_none>,   /* nINT: pull-up R2403 is fitted */
                <0 RK_PC0 RK_FUNC_GPIO &pcfg_pull_none>;   /* EINK_VCC_EN_H */
        };
    };
};

&pmu_io_domains {
	status = "okay";
	pmuio1-supply = <&vcc3v3_pmu>;
	pmuio2-supply = <&vcc3v3_pmu>;
	vccio1-supply = <&vccio_acodec>;
	vccio2-supply = <&vcca1v8_pmu>;
	vccio3-supply = <&vccio_sd>;
	vccio4-supply = <&vcca1v8_pmu>;
	vccio5-supply = <&vcc_3v3>;
	vccio6-supply = <&vcc_1v8>;	/* VCC_EINK: 1.8V LDO U2408 (RS1562-18) for the EPD interface */
	vccio7-supply = <&vcc_1v8_dvp>;
};

&pwm12 {
	pinctrl-names = "default";
	pinctrl-0 = <&pwm12m1_pins>;
	status = "disabled";
};

&pwm15 {
	pinctrl-names = "default";
	pinctrl-0 = <&pwm15m0_pins>;
	status = "disabled";
};

&rk_rga {
	status = "okay";
};

&rkisp {
	status = "disabled";
};

&rkisp_mmu {
	status = "disabled";
};

&rkisp_vir0 {
	status = "disabled";

	port {
		#address-cells = <1>;
		#size-cells = <0>;

		isp0_in: endpoint@0 {
			reg = <0>;
			remote-endpoint = <&csidphy0_out>;
		};
	};
};

&rkvdec {
	status = "okay";
};

&rkvdec_mmu {
	status = "okay";
};

&rkvenc {
	status = "okay";
};

&rkvenc_mmu {
	status = "okay";
};

&rockchip_suspend {
	status = "okay";

	rockchip,regulator-off-in-mem-lite =
		<&vdd_cpu>, <&vdd_logic>, <&vdd_gpu>, <&vcc_3v3>, <&vdda_0v9>, <&vcc_1v8>, <&vcc_1v8_dvp>,
		<&vccio_acodec>, <&vccio_sd>,  <&dcdc_boost>, <&otg_switch>,
		<&sleep_sta_ctl>;
	rockchip,regulator-on-in-mem-lite =
		<&vcc_ddr>, <&vdda0v9_pmu>, <&vcca1v8_pmu>, <&vcc3v3_pmu>;

	rockchip,regulator-off-in-mem =
		<&vdd_cpu>, <&vdd_logic>, <&vdd_gpu>, <&vcc_3v3>, <&vdda_0v9>, <&vcc_1v8>, <&vcc_1v8_dvp>,
		<&vccio_acodec>, <&vccio_sd>, <&dcdc_boost>, <&otg_switch>,
		<&sleep_sta_ctl>;
	rockchip,regulator-on-in-mem =
		<&vcc_ddr>, <&vdda0v9_pmu>, <&vcca1v8_pmu>, <&vcc3v3_pmu>;

	rockchip,regulator-off-in-mem-ultra =
		<&vdd_logic>, <&vdd_gpu>, <&vcc_ddr>, <&vcc_3v3>, <&vdda_0v9>, <&vcc_1v8>, <&vcc_1v8_dvp>,
		<&vdda0v9_pmu>, <&vcca1v8_pmu>, <&vcc3v3_pmu>, <&vccio_acodec>, <&vccio_sd>,
		<&dcdc_boost>, <&otg_switch>;
	rockchip,regulator-on-in-mem-ultra = <&vdd_cpu>, <&sleep_sta_ctl>;
};

&saradc {
	status = "okay";
	vref-supply = <&vcc_1v8>;
};

&sdhci {
	bus-width = <8>;
	supports-emmc;
	non-removable;
	keep-power-in-suspend;
	max-frequency = <200000000>;
	status = "disabled";
};

&sdmmc0 {
	max-frequency = <150000000>;
	no-sdio;
	no-mmc;
	non-removable;
	keep-power-in-suspend;
	bus-width = <4>;
	cap-sd-highspeed;
	disable-wp;
	vmmc-supply = <&vcc_3v3>;
	vqmmc-supply = <&vccio_sd>;
	pinctrl-names = "default";
	pinctrl-0 = <&sdmmc0_bus4 &sdmmc0_clk &sdmmc0_cmd &sdmmc0_det &sdmmc0_pwren>;
	status = "okay";
};

/* The board holds SDMMC0_DET_L low (U-Boot needs it for SD boot), so the
 * default pull-up only leaks. */
&sdmmc0_det {
	rockchip,pins = <0 RK_PA4 1 &pcfg_pull_down>;
};

/* SDMMC_PWR switches nothing (card power is VCC_3V3 via R4206 0R), and the
 * boot-time PWREN mux drives it high against the pull-down: park it as GPIO. */
&sdmmc0_pwren {
	rockchip,pins = <0 RK_PA5 RK_FUNC_GPIO &pcfg_pull_down>;
};

&sdmmc1 {
	// max-frequency = <200000000>;
	max-frequency = <150000000>;
	supports-sdio;
	bus-width = <4>;
	disable-wp;
	cap-sd-highspeed;
	cap-sdio-irq;
	keep-power-in-suspend;
	mmc-pwrseq = <&sdio_pwrseq>;
	non-removable;
	pinctrl-names = "default";
	pinctrl-0 = <&sdmmc1_bus4 &sdmmc1_cmd &sdmmc1_clk>;
	sd-uhs-sdr104;
	rockchip,default-sample-phase = <90>;
	status = "okay";
};

&tsadc {
	status = "okay";
};

&uart1 {
	status = "okay";
	pinctrl-names = "default";
	/* The chip (U18) has no RTS/CTS: muxing CTSN left it floating */
	pinctrl-0 = <&uart1m0_xfer>;
};

&u2phy0_otg {
	rockchip,dis-u2-susphy;
	status = "okay";
};

&usb2phy0 {
	status = "okay";
	// rockchip,usb2phy-bc12;
};

&usbdrd_dwc3 {
	status = "okay";
	usb-role-switch; /* 用于使能 DWC3 驱动注册 USB Role Switch 回调函数 */
	port {
		#address-cells = <1>;
		#size-cells = <0>;
		dwc3_role_switch: endpoint@0 {
			reg = <0>;
			remote-endpoint = <&usbc0_role_sw>; /* 关联 FUSB302，实现
			USB 角色切换的功能 */
		};
	};
};

&usbdrd30 {
	status = "okay";
};

&xin32k {
	/delete-property/ pinctrl-names;
	/delete-property/ pinctrl-0;
};

&vdpu {
	status = "okay";
};

&vdpu_mmu {
	status = "okay";
};

&vepu {
	status = "okay";
};

&vepu_mmu {
	status = "okay";
};

&vop {
	status = "okay";
};

&vop_mmu {
	status = "okay";
};
